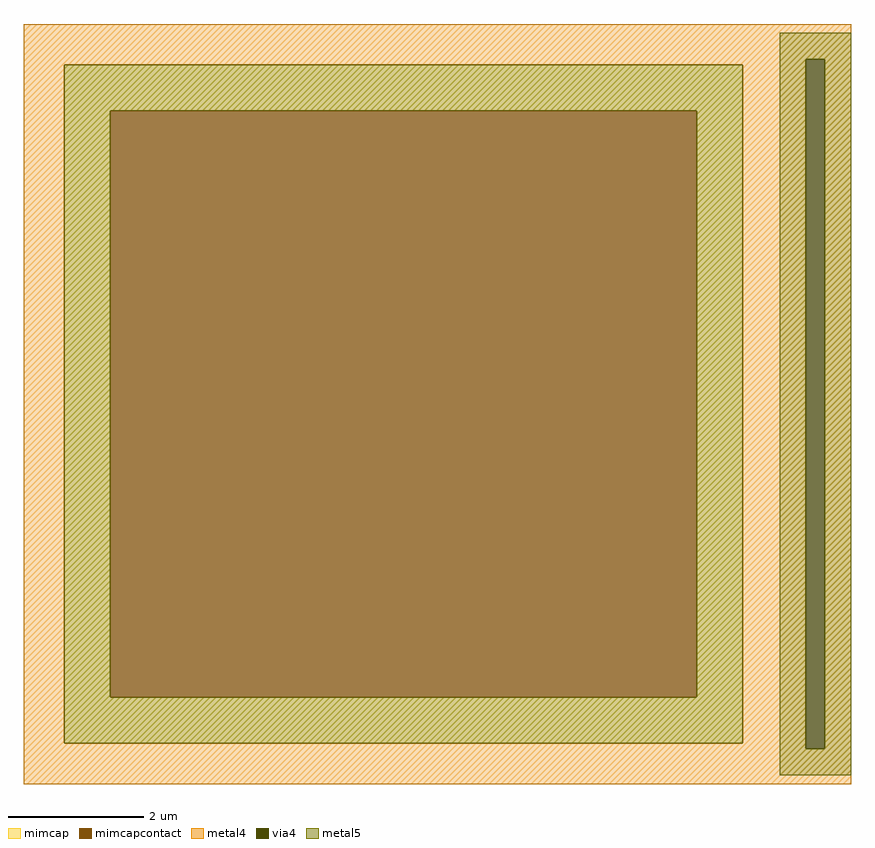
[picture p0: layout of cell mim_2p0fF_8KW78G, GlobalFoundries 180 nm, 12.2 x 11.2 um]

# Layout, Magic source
magic
tech gf180mcuD
magscale 1 5
<< mimcap >>
rect -550 432 450 500
rect -550 -432 -482 432
rect 382 -432 450 432
rect -550 -500 450 -432
<< mimcapcontact >>
rect -482 -432 382 432
<< metal4 >>
rect -610 508 610 560
rect -610 500 543 508
rect -610 -500 -550 500
rect 450 -500 543 500
rect -610 -508 543 -500
rect 571 -508 610 508
rect -610 -560 610 -508
<< via4 >>
rect 543 -508 571 508
<< metal5 >>
rect 504 508 610 547
rect -550 432 450 500
rect -550 -432 -482 432
rect 382 -432 450 432
rect -550 -500 450 -432
rect 504 -508 543 508
rect 571 -508 610 508
rect 504 -547 610 -508
<< properties >>
string FIXED_BBOX -590 -540 490 540
string GDS_END 67974
string GDS_FILE ../gds/simple_por.gds.gz
string GDS_START 57026
<< end >>
